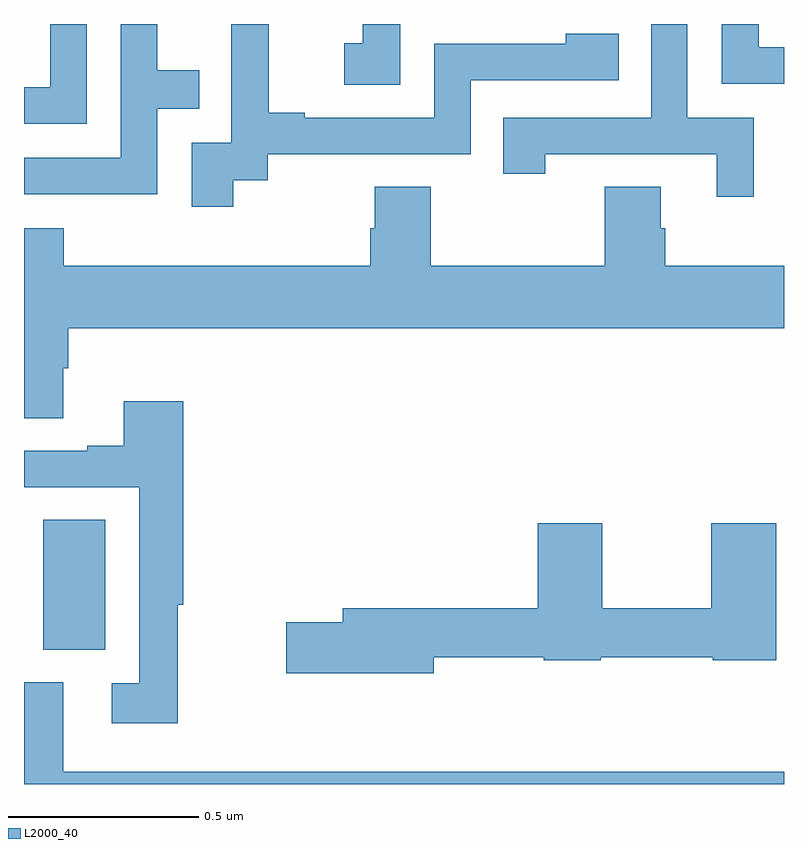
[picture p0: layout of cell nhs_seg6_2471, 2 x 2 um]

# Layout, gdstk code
import gdstk
lib = gdstk.Library(unit=1e-6, precision=1e-09)
def R(c, l, rs):  # rectangles x0, y0, x1, y1
    for r in rs: c.add(gdstk.rectangle(r[:2], r[2:], *l))
def P(c, l, *ps):  # polygons
    for p in ps: c.add(gdstk.Polygon(p, *l))
L2000_40 = (2000, 40)

nhs_seg6_2471 = lib.new_cell('nhs_seg6_2471')
R(nhs_seg6_2471, L2000_40, [(144.05,915.853,144.214,916.196)])
P(nhs_seg6_2471, L2000_40, [(144.351,917.277),(144.461,917.277),(144.461,917.378),(144.351,917.378),(144.351,917.5),(144.255,917.5),(144.255,917.148),(144,917.148),(144,917.052),(144.351,917.052)],
  [(145.92,917.253),(145.746,917.253),(145.746,917.5),(145.65,917.5),(145.65,917.253),(145.261,917.253),(145.261,917.106),(145.372,917.106),(145.372,917.157),(145.823,917.157),(145.823,917.046),(145.92,917.046)],
  [(144.99,917.5),(144.892,917.5),(144.892,917.449),(144.843,917.449),(144.843,917.34),(144.99,917.34)],
  [(146,917.439),(145.933,917.439),(145.933,917.5),(145.836,917.5),(145.836,917.343),(146,917.343)],
  [(144.55,917.089),(144.642,917.089),(144.642,917.157),(145.176,917.157),(145.176,917.352),(145.565,917.352),(145.565,917.475),(145.425,917.475),(145.425,917.448),(145.08,917.448),(145.08,917.253),(144.739,917.253),(144.739,917.266),(144.644,917.266),(144.644,917.5),(144.545,917.5),(144.545,917.417),(144.546,917.417),(144.546,917.187),(144.441,917.187),(144.441,917.019),(144.55,917.019)],
  [(144.165,917.5),(144.069,917.5),(144.069,917.334),(144,917.334),(144,917.238),(144.165,917.238)],
  [(144.103,916.594),(144.116,916.594),(144.116,916.7),(146,916.7),(146,916.864),(145.688,916.864),(145.688,916.962),(145.675,916.962),(145.675,917.072),(145.528,917.072),(145.528,916.864),(145.071,916.864),(145.071,917.072),(144.923,917.072),(144.923,916.962),(144.911,916.962),(144.911,916.864),(144.104,916.864),(144.104,916.963),(144,916.963),(144,916.462),(144.103,916.462)],
  [(144.404,915.972),(144.419,915.972),(144.419,916.507),(144.263,916.507),(144.263,916.39),(144.167,916.39),(144.167,916.377),(144,916.377),(144,916.281),(144.303,916.281),(144.303,915.765),(144.231,915.765),(144.231,915.66),(144.404,915.66)],
  [(145.078,915.834),(145.368,915.834),(145.368,915.826),(145.518,915.826),(145.518,915.834),(145.812,915.834),(145.812,915.826),(145.979,915.826),(145.979,916.186),(145.808,916.186),(145.808,915.962),(145.522,915.962),(145.522,916.186),(145.352,916.186),(145.352,915.962),(144.839,915.962),(144.839,915.926),(144.69,915.926),(144.69,915.791),(145.078,915.791)],
  [(146,915.532),(144.103,915.532),(144.103,915.768),(144,915.768),(144,915.5),(146,915.5)])

lib.write_gds('nhs_seg6_2471.gds')
